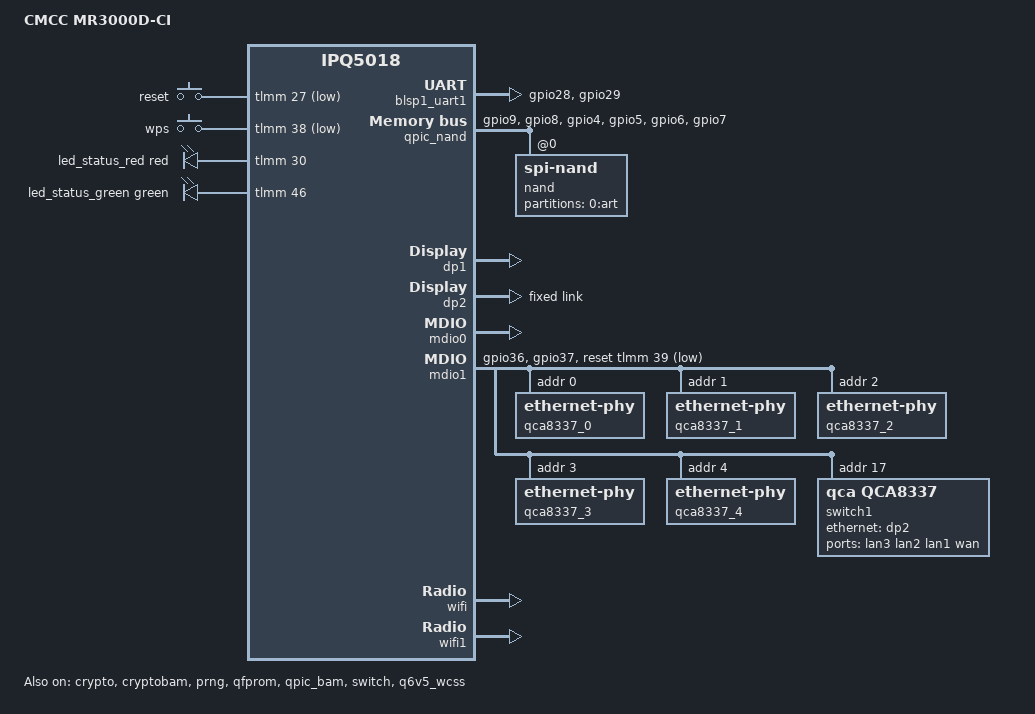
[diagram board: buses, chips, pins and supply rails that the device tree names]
// SPDX-License-Identifier: GPL-2.0-or-later OR MIT

/dts-v1/;

#include "ipq5018.dtsi"
#include "ipq5018-ess.dtsi"
#include "ipq5018-qcn6122.dtsi"

#include <dt-bindings/gpio/gpio.h>
#include <dt-bindings/input/input.h>
#include <dt-bindings/leds/common.h>

/ {
	model = "CMCC MR3000D-CI";
	compatible = "cmcc,mr3000d-ci", "qcom,ipq5018";

	aliases {
		label-mac-device = <&dp1>;

		led-boot = &led_status_red;
		led-failsafe = &led_status_green;
		led-running = &led_status_green;
		led-upgrade = &led_status_green;

		serial0 = &blsp1_uart1;
	};

	chosen {
		bootargs-append = " root=/dev/ubiblock0_1 swiotlb=1 coherent_pool=2M";
		stdout-path = "serial0:115200n8";
	};

	keys {
		compatible = "gpio-keys";
		pinctrl-0 = <&button_pins>;
		pinctrl-names = "default";

		button-0 {
			label = "reset";
			gpios = <&tlmm 27 GPIO_ACTIVE_LOW>;
			linux,code = <KEY_RESTART>;
		};

		button-1 {
			label = "wps";
			gpios = <&tlmm 38 GPIO_ACTIVE_LOW>;
			linux,code = <KEY_WPS_BUTTON>;
		};
	};

	leds {
		compatible = "gpio-leds";
		pinctrl-0 = <&led_pins>;
		pinctrl-names = "default";

		led_status_red: led-0 {
			gpios = <&tlmm 30 GPIO_ACTIVE_HIGH>;
			color = <LED_COLOR_ID_RED>;
			function = LED_FUNCTION_STATUS;
		};

		led_status_green: led-1 {
			gpios = <&tlmm 46 GPIO_ACTIVE_HIGH>;
			color = <LED_COLOR_ID_GREEN>;
			function = LED_FUNCTION_STATUS;
		};
	};
};

&sleep_clk {
	clock-frequency = <32000>;
};

&xo_board_clk {
	clock-div = <4>;
	clock-mult = <1>;
};

&blsp1_uart1 {
	status = "okay";

	pinctrl-0 = <&serial_0_pins>;
	pinctrl-names = "default";
};

&crypto {
	status = "okay";
};

&cryptobam {
	status = "okay";
};

&prng {
	status = "okay";
};

&qfprom {
	status = "okay";
};

&qpic_bam {
	status = "okay";
};

&qpic_nand {
	pinctrl-0 = <&qpic_pins>;
	pinctrl-names = "default";
	status = "okay";

	// GigaDevice GD5F1GQ5REYIG
	nand@0 {
		compatible = "spi-nand";
		reg = <0>;

		nand-ecc-engine = <&qpic_nand>;
		nand-ecc-step-size = <512>;
		nand-ecc-strength = <8>;
		nand-bus-width = <8>;

		partitions {
			compatible = "qcom,smem-part";

			partition-art {
				label = "0:art";
				read-only;

				nvmem-layout {
					compatible = "fixed-layout";
					#address-cells = <1>;
					#size-cells = <1>;

					// WAN MAC address
					macaddr_art_0: mac-address@0 {
						compatible = "mac-base";
						reg = <0x0 0x6>;
						#nvmem-cell-cells = <1>;
					};

					// LAN MAC address
					macaddr_art_6: mac-address@6 {
						compatible = "mac-base";
						reg = <0x6 0x6>;
						#nvmem-cell-cells = <1>;
					};

					// WLAN 2.4 GHz MAC address
					macaddr_art_c: mac-address@c {
						compatible = "mac-base";
						reg = <0xc 0x6>;
						#nvmem-cell-cells = <1>;
					};

					// WLAN 5 GHz MAC address
					macaddr_art_12: mac-address@12 {
						compatible = "mac-base";
						reg = <0x12 0x6>;
						#nvmem-cell-cells = <1>;
					};
				};
			};
		};
	};
};

/*
 * ===============================================================
 *     _______________________         _______________________
 *    |        IPQ5018        |       |        QCA8337        |
 *    | +------+   +--------+ |       | +--------+   +------+ |
 *    | | MAC0 |---| GE Phy | |       | |  Phy0  |---| MAC1 | |
 *    | +------+   +--------+ |       | +--------+   +------+ |
 *    | +------+   +--------+ |       | +--------+   +------+ |
 *    | | MAC1 |---| Uniphy |-+-SGMII-+-| SerDes |---| MAC6 | |
 *    | +------+   +--------+ |       | +--------+   +------+ |
 *    |_______________________|       |_______________________|
 *
 * ===============================================================
 */

&switch {
	status = "okay";

	switch_mac_mode = <MAC_MODE_SGMII_CHANNEL0>;

	qcom,port_phyinfo {
		// MAC0 -> GE Phy -> QCA8337 Phy4
		port@1 {
			port_id = <1>;
			mdiobus = <&mdio0>;
			phy_address = <7>;
		};

		// MAC1 ---SGMII---> QCA8337 SerDes
		port@2 {
			port_id = <2>;
			mdiobus = <&mdio1>;
			forced-speed = <1000>;
			forced-duplex = <1>;
		};
	};
};

// MAC0 -> GE Phy
&dp1 {
	status = "okay";

	nvmem-cell-names = "mac-address";
	nvmem-cells = <&macaddr_art_0 (0)>;
};

// MAC1 -> SGMII
&dp2 {
	status = "okay";

	nvmem-cell-names = "mac-address";
	nvmem-cells = <&macaddr_art_6 (0)>;

	fixed-link {
		speed = <1000>;
		full-duplex;
	};
};

&mdio0 {
	status = "okay";
};

// MAC0 -> GE Phy -> QCA8337 Phy4
&ge_phy {
	qcom,dac-preset-short-cable;
};

&mdio1 {
	status = "okay";

	pinctrl-0 = <&mdio1_pins>;
	pinctrl-names = "default";
	reset-gpios = <&tlmm 39 GPIO_ACTIVE_LOW>;

	// QCA8337 Phy0 -> LAN3
	qca8337_0: ethernet-phy@0 {
		reg = <0>;
	};

	// QCA8337 Phy1 -> LAN2
	qca8337_1: ethernet-phy@1 {
		reg = <1>;
	};

	// QCA8337 Phy2 -> LAN1
	qca8337_2: ethernet-phy@2 {
		reg = <2>;
	};

	// QCA8337 Phy3 -> WAN
 	qca8337_3: ethernet-phy@3 {
		reg = <3>;
	};

	// QCA8337 Phy4 -> IPQ5018 GE Phy
	qca8337_4: ethernet-phy@4 {
		reg = <4>;
	};

	// QCA8337 switch
	switch1: ethernet-switch@17 {
		compatible = "qca,qca8337";
		reg = <17>;
		#address-cells = <1>;
		#size-cells = <0>;

		ports {
			#address-cells = <1>;
			#size-cells = <0>;

			port@1 {
				reg = <1>;
				label = "lan3";
				phy-handle = <&qca8337_0>;
			};

			port@2 {
				reg = <2>;
				label = "lan2";
				phy-handle = <&qca8337_1>;
			};

			port@3 {
				reg = <3>;
				label = "lan1";
				phy-handle = <&qca8337_2>;
			};

			port@4 {
				reg = <4>;
				label = "wan";
				phy-handle = <&qca8337_3>;

				nvmem-cells = <&macaddr_art_0 (0)>;
				nvmem-cell-names = "mac-address";
			};

			port@6 {
				reg = <6>;
				phy-mode = "sgmii";
				ethernet = <&dp2>;
				qca,sgmii-enable-pll;

				fixed-link {
					speed = <1000>;
					full-duplex;
				};
			};
		};
	};
};

&tlmm {
	button_pins: button-state {
		button-pins {
			pins = "gpio27", "gpio38";
			function = "gpio";
			drive-strength = <8>;
			bias-pull-up;
		};

	};

	led_pins: led-state {
		pins = "gpio30", "gpio46";
		function = "gpio";
		drive-strength = <8>;
		bias-pull-down;
	};

	mdio1_pins: mdio-state {
		mdc-pins {
			pins = "gpio36";
			function = "mdc";
			drive-strength = <8>;
			bias-pull-up;
		};

		mdio-pins {
			pins = "gpio37";
			function = "mdio";
			drive-strength = <8>;
			bias-pull-up;
		};
	};

	qpic_pins: qpic-state {
		clock-pins {
			pins = "gpio9";
			function = "qspi_clk";
			drive-strength = <8>;
			bias-disable;
		};

		cs-pins {
			pins = "gpio8";
			function = "qspi_cs";
			drive-strength = <8>;
			bias-disable;
		};

		data-pins {
			pins = "gpio4", "gpio5", "gpio6", "gpio7";
			function = "qspi_data";
			drive-strength = <8>;
			bias-disable;
		};
	};

	serial_0_pins: uart0-state {
		pins = "gpio28", "gpio29";
		function = "blsp0_uart1";
		drive-strength = <8>;
		bias-disable;
	};

	switch_reset_pins: switch-reset-state {
		pins = "gpio39";
		function = "gpio";
		drive-strength = <8>;
		bias-pull-down;
	};
};

&q6v5_wcss {
	status = "okay";

	/* The QCN6102 radio should map to UPD ID 2. Without       */
	/* bootargs, the firmware will expect it to be on UPD ID 3 */
	boot-args = <
		/*       type:	*/	0x1	/* PCIE0	*/
		/*     length:	*/	4
		/*     UPD ID:	*/	2
		/* reset GPIO:	*/	15
		/*   reserved:	*/	0 0>;
};

&wifi {
	// IPQ5018
	status = "okay";

	qcom,rproc = <&q6_wcss_pd1>;
	qcom,ath11k-calibration-variant = "CMCC-MR3000D-CI";
	qcom,ath11k-fw-memory-mode = <1>;
	qcom,bdf-addr = <0x4c400000>;
};

&wifi1 {
	// QCN6102 5G
	status = "okay";

	qcom,rproc = <&q6_wcss_pd2>;
	qcom,userpd-subsys-name = "q6v5_wcss_userpd2";
	qcom,ath11k-calibration-variant = "CMCC-MR3000D-CI";
	qcom,ath11k-fw-memory-mode = <1>;
	qcom,bdf-addr = <0x4d100000>;
	qcom,m3-dump-addr = <0x4df00000>;
};
